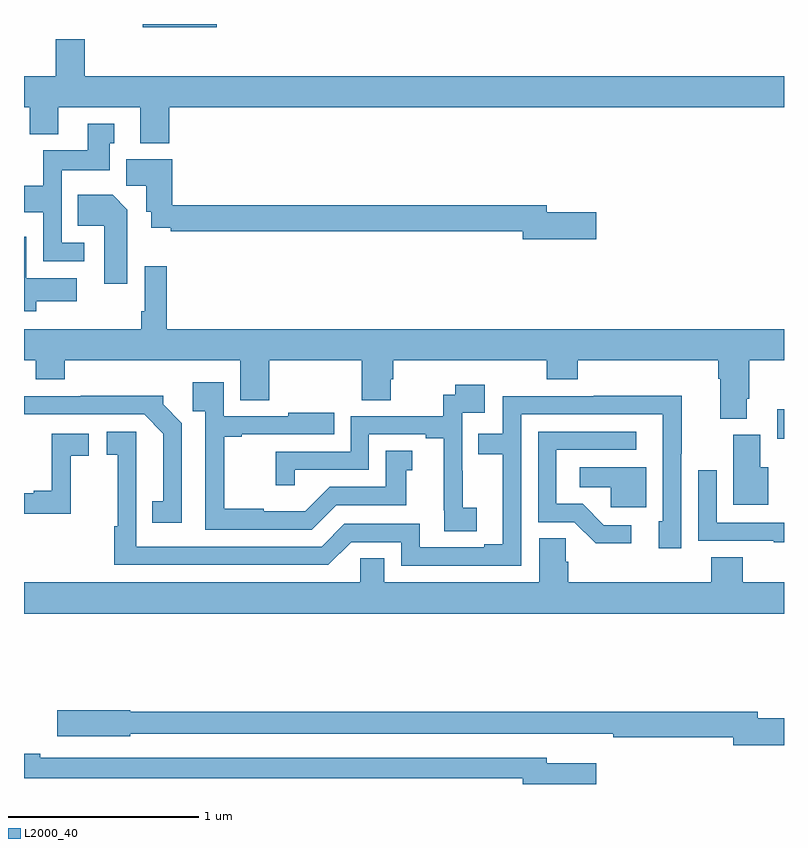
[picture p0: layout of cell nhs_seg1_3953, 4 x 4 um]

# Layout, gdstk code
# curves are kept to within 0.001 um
import gdstk
lib = gdstk.Library(unit=1e-6, precision=1e-09)
def R(c, l, rs):  # rectangles x0, y0, x1, y1
    for r in rs: c.add(gdstk.rectangle(r[:2], r[2:], *l))
def P(c, l, *ps):  # polygons
    for p in ps: c.add(gdstk.Polygon(p, *l))
L2000_40 = (2000, 40)

nhs_seg1_3953 = lib.new_cell('nhs_seg1_3953')
R(nhs_seg1_3953, L2000_40, [(330.965,522.016,331,522.172), (327.626,524.183,328.015,524.199)])
P(nhs_seg1_3953, L2000_40, [(327.764,523.76),(331,523.76),(331,523.924),(327.32,523.924),(327.32,524.119),(327.167,524.119),(327.167,523.924),(327,523.924),(327,523.76),(327.029,523.76),(327.029,523.619),(327.181,523.619),(327.181,523.76),(327.611,523.76),(327.611,523.571),(327.764,523.571)],
  [(327.316,523.047),(327.198,523.047),(327.198,523.43),(327.451,523.43),(327.451,523.572),(327.475,523.572),(327.475,523.675),(327.335,523.675),(327.335,523.534),(327.1,523.534),(327.1,523.348),(327,523.348),(327,523.208),(327.102,523.208),(327.102,522.951),(327.316,522.951)],
  [(330.013,523.208),(329.752,523.208),(329.752,523.244),(327.779,523.244),(327.779,523.486),(327.539,523.486),(327.539,523.348),(327.644,523.348),(327.644,523.212),(327.669,523.212),(327.669,523.127),(327.772,523.127),(327.772,523.108),(329.624,523.108),(329.624,523.066),(330.013,523.066)],
  [(327.544,523.222),(327.466,523.3),(327.283,523.3),(327.283,523.136),(327.422,523.136),(327.422,522.831),(327.544,522.831)],
  [(327.065,522.74),(327.277,522.74),(327.277,522.862),(327.012,522.862),(327.012,523.078),(327,523.078),(327,522.686),(327.065,522.686)],
  [(330.805,522.226),(330.818,522.226),(330.818,522.428),(331,522.428),(331,522.592),(327.752,522.592),(327.752,522.925),(327.636,522.925),(327.636,522.688),(327.616,522.688),(327.616,522.592),(327,522.592),(327,522.428),(327.062,522.428),(327.062,522.329),(327.215,522.329),(327.215,522.428),(328.139,522.428),(328.139,522.22),(328.292,522.22),(328.292,522.428),(328.778,522.428),(328.778,522.22),(328.93,522.22),(328.93,522.33),(328.943,522.33),(328.943,522.428),(329.75,522.428),(329.75,522.329),(329.915,522.329),(329.915,522.428),(330.653,522.428),(330.653,522.332),(330.665,522.332),(330.665,522.121),(330.805,522.121)],
  [(328.644,521.667),(329.011,521.667),(329.011,521.851),(329.044,521.851),(329.044,521.954),(328.904,521.954),(328.904,521.763),(328.608,521.763),(328.48,521.635),(328.262,521.635),(328.262,521.647),(328.055,521.647),(328.055,522.027),(328.147,522.027),(328.147,522.039),(328.634,522.039),(328.634,522.154),(328.391,522.154),(328.391,522.135),(328.05,522.135),(328.05,522.313),(327.889,522.313),(327.889,522.161),(327.954,522.161),(327.954,521.538),(328.515,521.538)],
  [(329.383,521.652),(329.309,521.652),(329.309,521.849),(329.307,521.849),(329.307,522.153),(329.425,522.153),(329.425,522.301),(329.269,522.301),(329.269,522.249),(329.206,522.249),(329.206,522.135),(328.719,522.135),(328.719,521.949),(328.324,521.949),(328.324,521.772),(328.425,521.772),(328.425,521.853),(328.815,521.853),(328.815,522.039),(329.114,522.039),(329.114,522.019),(329.21,522.019),(329.21,521.641),(329.212,521.641),(329.212,521.53),(329.383,521.53)],
  [(329.616,522.144),(330.363,522.144),(330.363,521.583),(330.341,521.583),(330.341,521.439),(330.459,521.439),(330.459,521.938),(330.461,521.938),(330.461,522.242),(329.998,522.242),(329.998,522.24),(329.52,522.24),(329.52,522.042),(329.392,522.042),(329.392,521.934),(329.519,521.934),(329.519,521.46),(329.423,521.46),(329.423,521.445),(329.082,521.445),(329.082,521.568),(328.686,521.568),(328.566,521.448),(327.591,521.448),(327.592,522.052),(327.435,522.052),(327.435,521.931),(327.493,521.931),(327.493,521.555),(327.475,521.555),(327.475,521.352),(328.602,521.352),(328.722,521.472),(328.986,521.472),(328.986,521.349),(329.616,521.349)],
  [(327.831,522.098),(327.732,522.197),(327.732,522.242),(327.298,522.242),(327.298,522.24),(327,522.24),(327,522.144),(327.633,522.144),(327.734,522.043),(327.734,521.687),(327.676,521.687),(327.676,521.574),(327.831,521.574)],
  [(330.196,521.562),(330.051,521.562),(329.94,521.673),(329.802,521.673),(329.802,521.958),(330.223,521.958),(330.223,522.054),(329.706,522.054),(329.706,521.577),(329.895,521.577),(330.008,521.465),(330.196,521.465)],
  [(327.246,521.926),(327.34,521.926),(327.34,522.042),(327.146,522.042),(327.146,521.743),(327.05,521.743),(327.05,521.73),(327,521.73),(327,521.621),(327.246,521.621)],
  [(330.916,521.866),(330.874,521.866),(330.874,522.036),(330.734,522.036),(330.734,521.669),(330.916,521.669)],
  [(330.274,521.866),(329.925,521.866),(329.925,521.762),(330.087,521.762),(330.087,521.655),(330.274,521.655)],
  [(331,521.574),(330.645,521.574),(330.645,521.851),(330.549,521.851),(330.549,521.478),(330.945,521.478),(330.945,521.471),(331,521.471)],
  [(331,521.26),(330.782,521.26),(330.782,521.393),(330.617,521.393),(330.617,521.26),(329.864,521.26),(329.864,521.369),(329.85,521.369),(329.85,521.492),(329.711,521.492),(329.711,521.26),(328.897,521.26),(328.897,521.387),(328.77,521.387),(328.77,521.26),(327,521.26),(327,521.096),(331,521.096)],
  [(331,520.544),(330.862,520.544),(330.862,520.58),(327.558,520.58),(327.558,520.586),(327.174,520.586),(327.174,520.451),(327.558,520.451),(327.558,520.464),(329.848,520.464),(329.848,520.463),(330.1,520.463),(330.1,520.444),(330.734,520.444),(330.734,520.402),(331,520.402)],
  [(330.013,520.309),(329.752,520.309),(329.752,520.338),(327.086,520.338),(327.086,520.358),(327,520.358),(327,520.23),(329.624,520.23),(329.624,520.199),(330.013,520.199)])

lib.write_gds('nhs_seg1_3953.gds')
